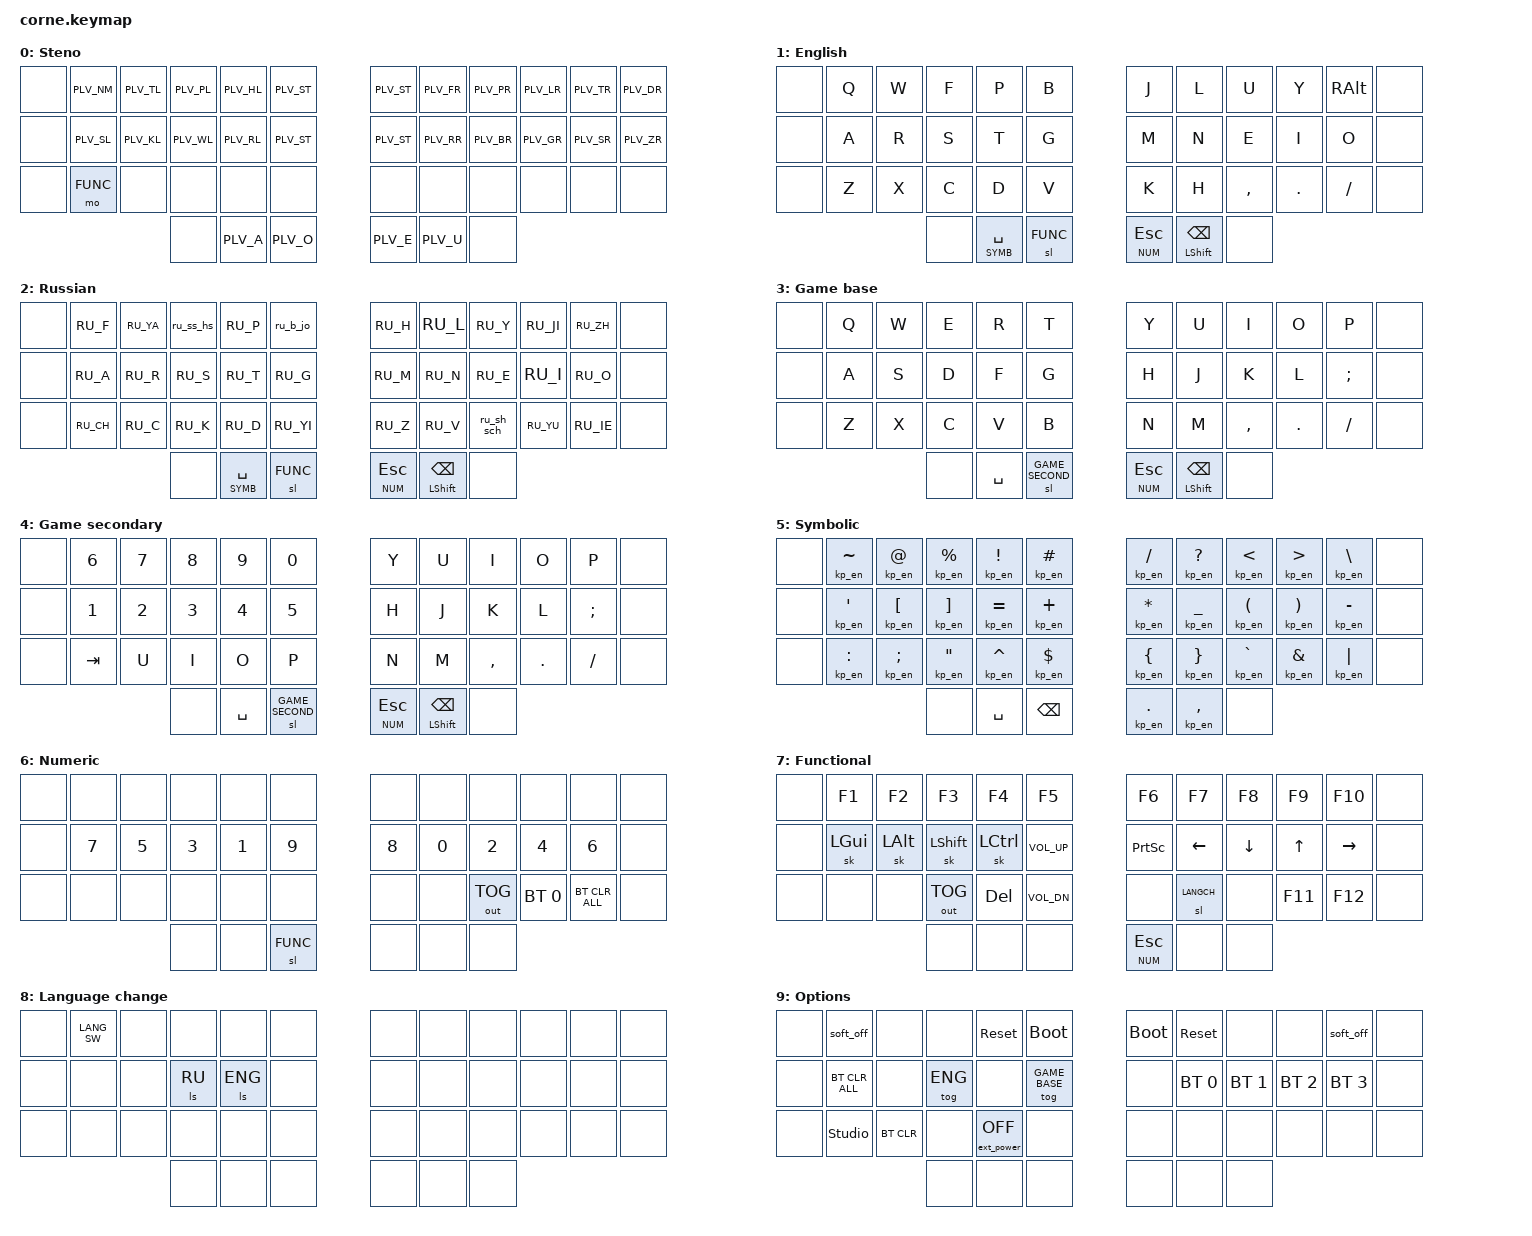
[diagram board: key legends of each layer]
// Copyright (c) 2022 TZMK Contributors
// SPDX-License-Identifier: MIT

#include <behaviors.dtsi>
#include <dt-bindings/zmk/keys.h>
#include <dt-bindings/zmk/bt.h>
#include <dt-bindings/zmk/outputs.h>
#include <dt-bindings/zmk/ext_power.h>

#include "zmk-helpers/helper.h"
#include "zmk-helpers/key-labels/42.h"

#define STENO 0
#define ENG 1
#define RU 2
#define GAME_BASE 3
#define GAME_SECOND 4
#define SYMB 5
#define NUM 6
#define FUNC 7
#define LANGCH 8
#define OPTS 9

#include "definitions/config.dtsi"
#include "definitions/russian.dtsi"
#include "features/behaviors.dtsi"
#include "features/combos.dtsi"
#include "features/conditional_layers.dtsi"

/ {
    keymap {
        compatible = "zmk,keymap";

        steno_layer { // STENO
            display-name = "Steno";
            bindings = <
            &none &kp PLV_NM &kp PLV_TL &kp PLV_PL &kp PLV_HL &kp PLV_ST    &kp PLV_ST &kp PLV_FR &kp PLV_PR &kp PLV_LR &kp PLV_TR &kp PLV_DR
            &none &kp PLV_SL &kp PLV_KL &kp PLV_WL &kp PLV_RL &kp PLV_ST    &kp PLV_ST &kp PLV_RR &kp PLV_BR &kp PLV_GR &kp PLV_SR &kp PLV_ZR
            &none &mo FUNC   &none      &none      &none      &none         &none      &none      &none      &none      &none      &none
                                        &none      &kp PLV_A  &kp PLV_O     &kp PLV_E  &kp PLV_U  &none
            >;
        };

        eng_layer { // ENG
            display-name = "English";
            bindings = <
            &none &kp Q      &kp W      &kp F      &kp P      &kp B          &kp J      &kp L      &kp U      &kp Y      &kp RALT &none
            &none &kp A      &kp R      &kp S      &kp T      &kp G          &kp M      &kp N      &kp E      &kp I      &kp O    &none
            &none &kp Z      &kp X      &kp C      &kp D      &kp V          &kp K      &kp H      &kp COMMA  &kp DOT    &kp FSLH &none
                                        &none  &lt SYMB SPACE &sl FUNC       &lt NUM ESC  &mt LSHIFT BSPC &none
            >;
        };

        ru_layer { // RU
            display-name = "Russian";
            bindings = <
            &none &kp RU_F   &kp RU_YA  &ru_ss_hs  &kp RU_P   &ru_b_jo     &kp RU_H  &kp RU_L  &kp RU_Y    &kp RU_JI  &kp RU_ZH &none 
            &none &kp RU_A   &kp RU_R   &kp RU_S   &kp RU_T   &kp RU_G     &kp RU_M  &kp RU_N  &kp RU_E    &kp RU_I   &kp RU_O  &none 
            &none &kp RU_CH  &kp RU_C   &kp RU_K   &kp RU_D   &kp RU_YI    &kp RU_Z  &kp RU_V  &ru_sh_sch  &kp RU_YU  &kp RU_IE &none 
                                        &none  &lt SYMB SPACE &sl FUNC     &lt NUM ESC  &mt LSHIFT BSPC &none
            >;
        };

        game_base_layer { // GAME_BASE
            display-name = "Game base";
            bindings = <
            &none &kp Q   &kp W   &kp E   &kp R      &kp T        &kp Y      &kp U      &kp I      &kp O      &kp P    &none 
            &none &kp A   &kp S   &kp D   &kp F      &kp G        &kp H      &kp J      &kp K      &kp L      &kp SEMI &none 
            &none &kp Z   &kp X   &kp C   &kp V      &kp B        &kp N      &kp M      &kp COMMA  &kp DOT    &kp FSLH &none 
                                &none &kp SPACE  &sl GAME_SECOND  &lt NUM ESC  &mt LSHIFT BSPC &none
            >;
        };

        game_second_layer { // GAME_SECOND
            display-name = "Game secondary";
            bindings = <
            &none &kp N6  &kp N7 &kp N8 &kp N9  &kp N0              &kp Y      &kp U      &kp I      &kp O      &kp P    &none 
            &none &kp N1  &kp N2 &kp N3 &kp N4  &kp N5              &kp H      &kp J      &kp K      &kp L      &kp SEMI &none 
            &none &kp TAB &kp U  &kp I  &kp O   &kp P               &kp N      &kp M      &kp COMMA  &kp DOT    &kp FSLH &none 
                            &none &kp SPACE  &sl GAME_SECOND        &lt NUM ESC  &mt LSHIFT BSPC &none
            >;
        };

        symb_layer { // SYMB
            display-name = "Symbolic";
            bindings = <
            &none &kp_en TILDE  &kp_en AT    &kp_en PRCNT  &kp_en EXCL   &kp_en HASH      &kp_en SLASH  &kp_en QMARK  &kp_en LT     &kp_en GT    &kp_en BSLH  &none 
            &none &kp_en SQT    &kp_en LBKT  &kp_en RBKT   &kp_en EQUAL  &kp_en PLUS      &kp_en STAR   &kp_en UNDER  &kp_en LPAR   &kp_en RPAR  &kp_en MINUS &none 
            &none &kp_en COLON  &kp_en SEMI  &kp_en DQT    &kp_en CARET  &kp_en DLLR      &kp_en LBRC   &kp_en RBRC   &kp_en GRAVE  &kp_en AMPS  &kp_en PIPE  &none 
                                        &none &kp SPACE  &kp BSPC        &kp_en PERIOD    &kp_en COMMA  &none
            >;
        };

        num_layer { // NUM
            display-name = "Numeric";
            bindings = <
            &none &none  &none   &none  &none    &none          &none   &none   &none        &none        &none          &none 
            &none &kp N7 &kp N5  &kp N3 &kp N1   &kp N9         &kp N8  &kp N0  &kp N2       &kp N4       &kp N6         &none 
            &none &none  &none   &none  &none    &none          &none   &none   &out OUT_TOG &bt BT_SEL 0 &bt BT_CLR_ALL &none
                                 &none  &none    &sl FUNC       &none   &none   &none
            >;
        };

        func_layer { // FUNC
            display-name = "Functional";
            bindings = <
            &none &kp F1   &kp F2   &kp F3       &kp F4    &kp F5         &kp F6     &kp F7      &kp F8      &kp F9     &kp F10   &none 
            &none &sk LGUI &sk LALT &sk LSHIFT   &sk LCTRL &kp C_VOL_UP   &kp PSCRN  &kp LEFT    &kp DOWN    &kp UP     &kp RIGHT &none 
            &none &none    &none    &out OUT_TOG &kp DEL   &kp C_VOL_DN   &none      &sl LANGCH  &none       &kp F11    &kp F12   &none 
                                    &none        &none     &none          &lt NUM ESC &none      &none
            >;
        };

        lang_layer { // LANGCH
            display-name = "Language change";
            bindings = <
            &none &kp LANG_SW  &none      &none      &none      &none          &none      &none      &none      &none      &none &none 
            &none &none        &none      &ls RU     &ls ENG    &none          &none      &none      &none      &none      &none &none 
            &none &none        &none      &none      &none      &none          &none      &none      &none      &none      &none &none 
                                          &none      &none      &none          &none      &none      &none
            >;
        };

        opts_layer { // OPTS
            display-name = "Options";
            bindings = <
            &none &soft_off      &none      &none      &sys_reset        &bootloader     &bootloader  &sys_reset    &none         &none         &soft_off    &none 
            &none &bt BT_CLR_ALL &none      &tog ENG   &none             &tog GAME_BASE  &none        &bt BT_SEL 0  &bt BT_SEL 1  &bt BT_SEL 2  &bt BT_SEL 3 &none 
            &none &studio_unlock &bt BT_CLR &none      &ext_power EP_OFF &none           &none        &none         &none         &none         &none        &none 
                                            &none      &none             &none           &none        &none         &none
            >;
        };
    };
};
